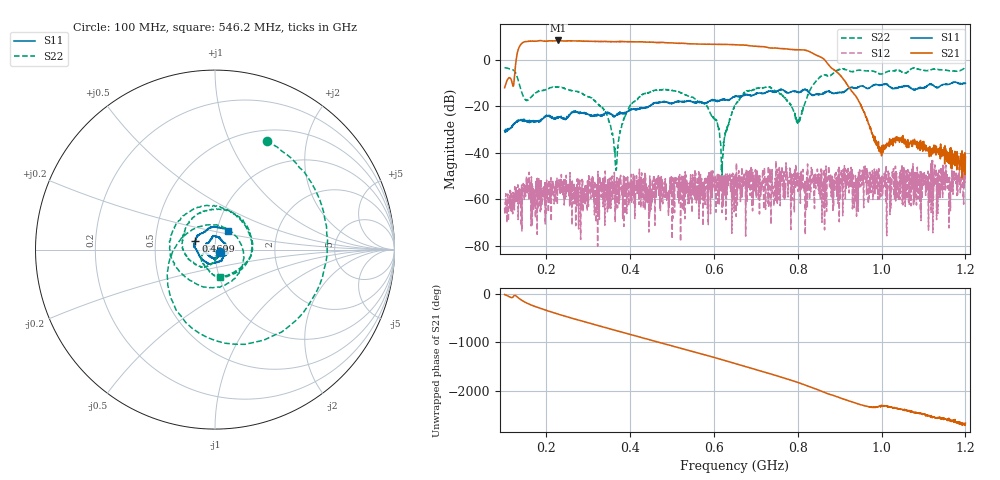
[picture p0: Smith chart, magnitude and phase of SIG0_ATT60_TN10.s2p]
# Hz S DB R 50
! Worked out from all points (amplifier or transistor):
!   1601 points, 100 MHz to 1.2 GHz, reference 50 ohm
!   highest |S21| = 8.2 dB at 227.9 MHz (marker M1)
!   |S21| within 3 dB of that: 134.4 MHz to 728 MHz (593.6 MHz wide, 138 % of centre)
!   unconditionally stable (mu >= 1): start of sweep to end of sweep
!   at 282.9 MHz: K = 131.04, MAG = 8.2 dB, |S12| = -56.7 dB
!   at 650 MHz: K = 107.36, MAG = 6.5 dB, |S12| = -53.3 dB
!   at 1.2 GHz: K = 7611.30, MAG = -38.7 dB, |S12| = -48.0 dB
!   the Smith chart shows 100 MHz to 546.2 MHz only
!   S11 on the Smith chart (normalised r, x): 100 MHz: 1.06, -0.03; 469.9 MHz: 0.80, +0.08; 546.2 MHz: 1.14, +0.23
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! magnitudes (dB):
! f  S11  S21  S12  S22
! 100 MHz  -30.5  -12.1  -63.6  -3.5
! 119.9 MHz  -27.9  -11.3  -57.0  -4.4
! 142.6 MHz  -26.4  7.2  -57.7  -14.9
! 227.9 MHz  -25.1  8.2  -53.9  -11.7
! 283.6 MHz  -22.8  7.9  -59.2  -14.4
! 339.9 MHz  -23.1  7.8  -47.8  -22.2
! 366.1 MHz  -23.9  7.7  -53.7  -47.5
! 399.1 MHz  -21.7  7.6  -53.0  -19.9
! 467.1 MHz  -18.6  7.4  -49.8  -13.1
! 469.9 MHz  -18.4  7.4  -50.7  -13.0
! 546.2 MHz  -18.0  6.8  -54.1  -16.1
! 603.2 MHz  -17.4  6.5  -56.8  -25.5
! 619.1 MHz  -17.1  6.5  -65.6  -52.7
! 650 MHz  -15.9  6.4  -53.3  -19.6
! 731.1 MHz  -13.5  5.0  -55.7  -11.8
! 800.6 MHz  -14.0  4.2  -56.6  -26.9
! 833.6 MHz  -15.2  2.9  -49.4  -11.5
! 938.8 MHz  -12.3  -15.8  -61.0  -4.8
! 950.4 MHz  -11.3  -19.3  -49.2  -4.5
! 994.4 MHz  -10.9  -39.4  -49.0  -6.0
! 1.017 GHz  -11.4  -35.5  -48.6  -5.0
! 1.2 GHz  -10.1  -41.7  -48.0  -3.5
